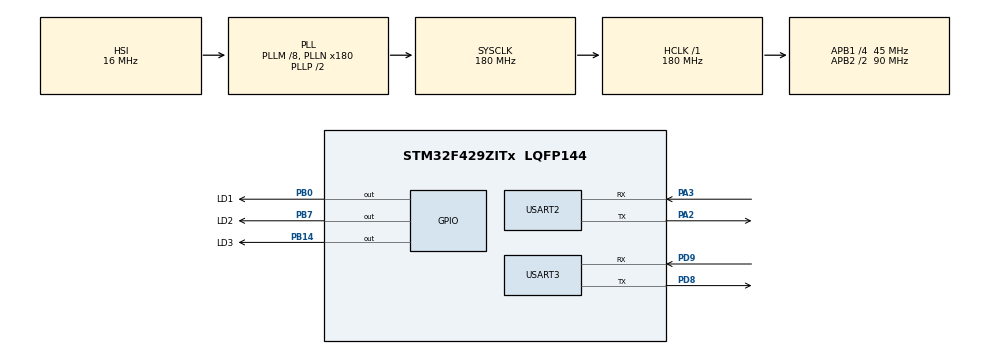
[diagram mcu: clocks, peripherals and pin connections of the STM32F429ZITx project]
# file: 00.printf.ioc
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Dma.Request0=USART2_TX
Dma.USART2_TX.0.Direction=DMA_MEMORY_TO_PERIPH
Dma.USART2_TX.0.FIFOMode=DMA_FIFOMODE_DISABLE
Dma.USART2_TX.0.Instance=DMA1_Stream6
Dma.USART2_TX.0.MemDataAlignment=DMA_MDATAALIGN_BYTE
Dma.USART2_TX.0.MemInc=DMA_MINC_ENABLE
Dma.USART2_TX.0.Mode=DMA_CIRCULAR
Dma.USART2_TX.0.PeriphDataAlignment=DMA_PDATAALIGN_BYTE
Dma.USART2_TX.0.PeriphInc=DMA_PINC_DISABLE
Dma.USART2_TX.0.Priority=DMA_PRIORITY_LOW
Mcu.Family=STM32F4
Mcu.Name=STM32F429ZITx
Mcu.Package=LQFP144
NVIC.DMA1_Stream6_IRQn=true\:0\:0\:false\:false\:true\:false\:true\:true
NVIC.PriorityGroup=NVIC_PRIORITYGROUP_4
NVIC.USART2_IRQn=true\:0\:0\:false\:false\:true\:true\:true\:true
PA2.Mode=Asynchronous
PA2.Signal=USART2_TX
PA3.Mode=Asynchronous
PA3.Signal=USART2_RX
PB0.GPIO_Label=LD1
PB0.Signal=GPIO_Output
PB14.GPIO_Label=LD3
PB14.Signal=GPIO_Output
PB7.GPIO_Label=LD2
PB7.Signal=GPIO_Output
PC14/OSC32_IN.Mode=LSE-External-Oscillator
PC14/OSC32_IN.Signal=RCC_OSC32_IN
PC15/OSC32_OUT.Mode=LSE-External-Oscillator
PC15/OSC32_OUT.Signal=RCC_OSC32_OUT
PD8.Mode=Asynchronous
PD8.Signal=USART3_TX
PD9.Mode=Asynchronous
PD9.Signal=USART3_RX
PH0/OSC_IN.Mode=HSE-External-Clock-Source
PH0/OSC_IN.Signal=RCC_OSC_IN
PH1/OSC_OUT.Mode=HSE-External-Clock-Source
PH1/OSC_OUT.Signal=RCC_OSC_OUT
ProjectManager.HeapSize=0x200
ProjectManager.StackSize=0x400
ProjectManager.TargetToolchain=STM32CubeIDE
RCC.48MHZClocksFreq_Value=90000000
RCC.AHBFreq_Value=180000000
RCC.APB1CLKDivider=RCC_HCLK_DIV4
RCC.APB1Freq_Value=45000000
RCC.APB1TimFreq_Value=90000000
RCC.APB2CLKDivider=RCC_HCLK_DIV2
RCC.APB2Freq_Value=90000000
RCC.APB2TimFreq_Value=180000000
RCC.CortexFreq_Value=180000000
RCC.HCLKFreq_Value=180000000
RCC.HSE_VALUE=25000000
RCC.HSI_VALUE=16000000
RCC.PLLM=8
RCC.PLLN=180
RCC.SYSCLKFreq_VALUE=180000000
RCC.SYSCLKSource=RCC_SYSCLKSOURCE_PLLCLK
RCC.VCOOutputFreq_Value=360000000
USART2.VirtualMode=VM_ASYNC
USART3.VirtualMode=VM_ASYNC
board=custom

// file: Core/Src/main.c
/* USER CODE BEGIN Header */
/**
  ******************************************************************************
  * @file           : main.c
  * @brief          : Main program body
  ******************************************************************************
  * @attention
  *
  * Copyright (c) 2024 STMicroelectronics.
  * All rights reserved.
  *
  * This software is licensed under terms that can be found in the LICENSE file
  * in the root directory of this software component.
  * If no LICENSE file comes with this software, it is provided AS-IS.
  *
  ******************************************************************************
  */
/* USER CODE END Header */
#include "main.h"
#include "dma.h"
#include "usart.h"
#include "gpio.h"

/* USER CODE BEGIN Includes */
#include "stdio.h"
#include "string.h"
/* USER CODE END Includes */

/* USER CODE BEGIN PD */
#define UART_TIMEOUT 100
#define RX_MAX_LENGTH 20
/* USER CODE END PD */

/* USER CODE BEGIN PV */
uint8_t count = 0;
int recvCount = 0;
int countLoop = 0;
int countInterrupt = 0;

uint8_t	data[] = "Hello World\r\n";
uint8_t recv[64];
uint8_t send[20];
char buffer[32];
int length;

uint8_t TxData[10240];
uint8_t RxData[RX_MAX_LENGTH];
uint8_t FinalData[RX_MAX_LENGTH];
uint8_t RxTemp[2];
int RxIndx = 0;
int isSent = 1;
int indx = 49;	// '1'
/* USER CODE END PV */

void SystemClock_Config(void);

/* USER CODE BEGIN 0 */
int _write(int file, char *ptr, int len)
{
	HAL_UART_Transmit(&huart3, (uint8_t*)ptr, len, 10);
	for(uint32_t i=0; i<len; i++)
	{
		ITM_SendChar((*ptr++));
	}
	return len;
}

void HAL_UART_TxHalfCpltCallback(UART_HandleTypeDef *huart)
{
	for(uint32_t i=0; i< 5120; i++)
	{
		TxData[i] = indx;
	}
	indx++;
}

void HAL_UART_TxCpltCallback(UART_HandleTypeDef *huart)
{

	for(uint32_t i=5120; i<10240; i++)
	{
		TxData[i] = indx;
	}
	indx++;
	if( indx >= 60)
	{
		HAL_UART_DMAStop(&huart2);
	}
	isSent = 1;
	countInterrupt++;
}

void HAL_UART_RxCpltCallback(UART_HandleTypeDef *huart)
{
	memcpy(RxData+RxIndx, RxTemp, 1);
	if(++RxIndx >= 20){RxIndx = 0;}
	HAL_UART_Receive_IT(&huart2, RxTemp, 1);

}
/* USER CODE END 0 */

int main(void)
{

  /* MCU Configuration--------------------------------------------------------*/

  /* Reset of all peripherals, Initializes the Flash interface and the Systick. */
  HAL_Init();

  /* Configure the system clock */
  SystemClock_Config();

  /* Initialize all configured peripherals */
  MX_GPIO_Init();
  MX_DMA_Init();
  MX_USART2_UART_Init();
  MX_USART3_UART_Init();
  /* USER CODE BEGIN 2 */

  uint8_t startText[] = "Start F429ZI_UART\r\n";
//  memset(TxData, 'a', sizeof(TxData));
  HAL_UART_Transmit(&huart2, (uint8_t*)&startText, sizeof(startText) - 1, UART_TIMEOUT);
//  HAL_UART_Transmit_DMA(&huart2, TxData, sizeof(TxData));

  HAL_UART_Receive_IT(&huart2, RxTemp, 1);

  /* USER CODE END 2 */

  /* Infinite loop */
  /* USER CODE BEGIN WHILE */
  while (1)
  {

	  if (RxTemp[0] == '\n' && RxIndx > 0)
	  {
		  memset(FinalData, 0, sizeof(FinalData));
		  memcpy(FinalData, RxData, RxIndx);

		  length = sprintf(buffer , "[%d]=>", RxIndx);
		  for(uint8_t i = 0; i < RxIndx; i++)
		  {
			  length += sprintf(buffer + length, "%c", FinalData[i]);
		  }

		  HAL_UART_Transmit_IT(&huart2, (uint8_t*)buffer, length);

		  memset(RxData, 0, sizeof(RxData));
//		  memset(buffer, 0, sizeof(buffer));
		  RxIndx = 0;

	  }

	  HAL_GPIO_TogglePin(GPIOB, LD2_Pin);
	  HAL_Delay(500);
	  countLoop++;
	  printf("[%d]\r\n", countLoop);

    /* USER CODE END WHILE */

  }
}

void SystemClock_Config(void)
{
  RCC_OscInitTypeDef RCC_OscInitStruct = {0};
  RCC_ClkInitTypeDef RCC_ClkInitStruct = {0};

  /** Configure the main internal regulator output voltage
  */
  __HAL_RCC_PWR_CLK_ENABLE();
  __HAL_PWR_VOLTAGESCALING_CONFIG(PWR_REGULATOR_VOLTAGE_SCALE1);

  /** Initializes the RCC Oscillators according to the specified parameters
  * in the RCC_OscInitTypeDef structure.
  */
  RCC_OscInitStruct.OscillatorType = RCC_OSCILLATORTYPE_HSI;
  RCC_OscInitStruct.HSIState = RCC_HSI_ON;
  RCC_OscInitStruct.HSICalibrationValue = RCC_HSICALIBRATION_DEFAULT;
  RCC_OscInitStruct.PLL.PLLState = RCC_PLL_ON;
  RCC_OscInitStruct.PLL.PLLSource = RCC_PLLSOURCE_HSI;
  RCC_OscInitStruct.PLL.PLLM = 8;
  RCC_OscInitStruct.PLL.PLLN = 180;
  RCC_OscInitStruct.PLL.PLLP = RCC_PLLP_DIV2;
  RCC_OscInitStruct.PLL.PLLQ = 4;
  if (HAL_RCC_OscConfig(&RCC_OscInitStruct) != HAL_OK)
  {
    Error_Handler();
  }

  /** Activate the Over-Drive mode
  */
  if (HAL_PWREx_EnableOverDrive() != HAL_OK)
  {
    Error_Handler();
  }

  /** Initializes the CPU, AHB and APB buses clocks
  */
  RCC_ClkInitStruct.ClockType = RCC_CLOCKTYPE_HCLK|RCC_CLOCKTYPE_SYSCLK
                              |RCC_CLOCKTYPE_PCLK1|RCC_CLOCKTYPE_PCLK2;
  RCC_ClkInitStruct.SYSCLKSource = RCC_SYSCLKSOURCE_PLLCLK;
  RCC_ClkInitStruct.AHBCLKDivider = RCC_SYSCLK_DIV1;
  RCC_ClkInitStruct.APB1CLKDivider = RCC_HCLK_DIV4;
  RCC_ClkInitStruct.APB2CLKDivider = RCC_HCLK_DIV2;

  if (HAL_RCC_ClockConfig(&RCC_ClkInitStruct, FLASH_LATENCY_5) != HAL_OK)
  {
    Error_Handler();
  }
}

void Error_Handler(void)
{
  __disable_irq();
  while (1)
  {
  }
}
